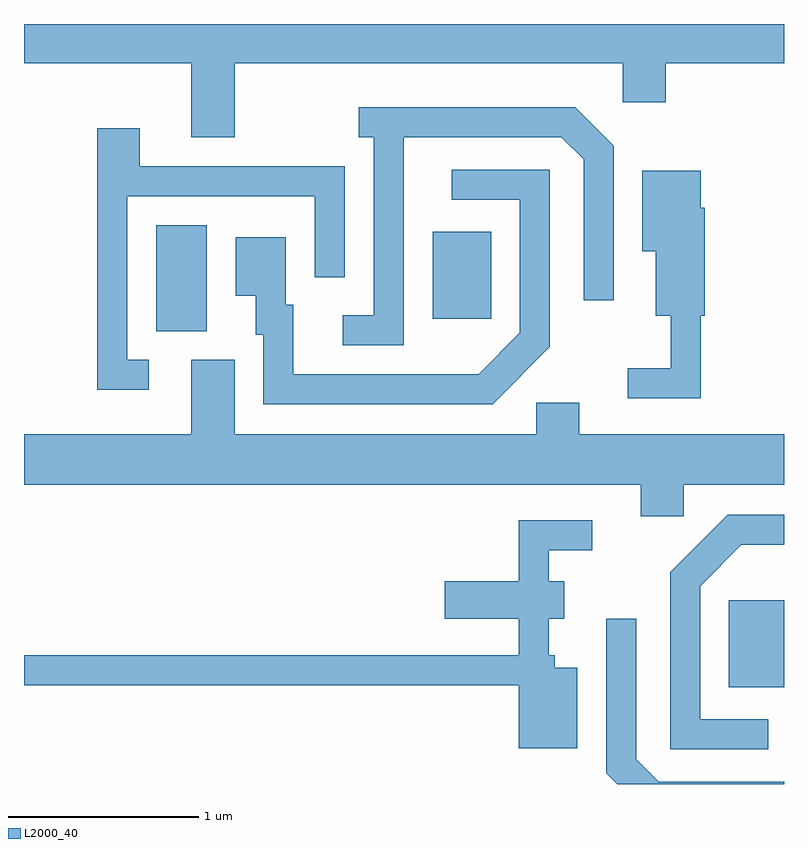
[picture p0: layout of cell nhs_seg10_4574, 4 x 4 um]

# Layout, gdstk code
import gdstk
lib = gdstk.Library(unit=1e-6, precision=1e-09)
def R(c, l, rs):  # rectangles x0, y0, x1, y1
    for r in rs: c.add(gdstk.rectangle(r[:2], r[2:], *l))
def P(c, l, *ps):  # polygons
    for p in ps: c.add(gdstk.Polygon(p, *l))
L2000_40 = (2000, 40)

nhs_seg10_4574 = lib.new_cell('nhs_seg10_4574')
R(nhs_seg10_4574, L2000_40, [(323.321,2155.031,323.611,2155.489), (320.306,2156.906,320.574,2157.464), (321.761,2156.971,322.069,2157.429)])
P(nhs_seg10_4574, L2000_40, [(320.719,2158.316),(322.761,2158.316),(322.761,2158.111),(322.989,2158.111),(322.989,2158.316),(323.611,2158.316),(323.611,2158.522),(319.611,2158.522),(319.611,2158.316),(320.491,2158.316),(320.491,2157.926),(320.719,2157.926)],
  [(321.609,2157.926),(322.439,2157.926),(322.556,2157.809),(322.556,2157.068),(322.714,2157.068),(322.714,2157.882),(322.512,2158.084),(321.373,2158.084),(321.373,2157.926),(321.451,2157.926),(321.451,2156.989),(321.288,2156.989),(321.288,2156.831),(321.609,2156.831)],
  [(320.268,2156.754),(320.154,2156.754),(320.154,2157.616),(321.141,2157.616),(321.141,2157.188),(321.299,2157.188),(321.299,2157.774),(320.219,2157.774),(320.219,2157.974),(319.996,2157.974),(319.996,2156.596),(320.268,2156.596)],
  [(322.379,2156.824),(322.379,2157.754),(321.863,2157.754),(321.863,2157.596),(322.221,2157.596),(322.221,2156.897),(322.004,2156.679),(321.029,2156.679),(321.029,2157.044),(320.989,2157.044),(320.989,2157.399),(320.726,2157.399),(320.726,2157.091),(320.831,2157.091),(320.831,2156.886),(320.871,2156.886),(320.871,2156.521),(322.077,2156.521)],
  [(323.174,2156.986),(323.194,2156.986),(323.194,2157.554),(323.174,2157.554),(323.174,2157.749),(322.866,2157.749),(322.866,2157.326),(322.936,2157.326),(322.936,2156.986),(323.016,2156.986),(323.016,2156.709),(322.788,2156.709),(322.788,2156.551),(323.174,2156.551)],
  [(323.084,2156.096),(323.611,2156.096),(323.611,2156.364),(322.534,2156.364),(322.534,2156.529),(322.306,2156.529),(322.306,2156.364),(320.719,2156.364),(320.719,2156.754),(320.491,2156.754),(320.491,2156.364),(319.611,2156.364),(319.611,2156.096),(322.856,2156.096),(322.856,2155.931),(323.084,2155.931)],
  [(323.528,2154.864),(323.169,2154.864),(323.169,2155.564),(323.387,2155.781),(323.611,2155.781),(323.611,2155.939),(323.314,2155.939),(323.011,2155.637),(323.011,2154.706),(323.528,2154.706)],
  [(322.524,2155.134),(322.404,2155.134),(322.404,2155.199),(322.374,2155.199),(322.374,2155.391),(322.454,2155.391),(322.454,2155.589),(322.374,2155.589),(322.374,2155.751),(322.603,2155.751),(322.603,2155.909),(322.216,2155.909),(322.216,2155.589),(321.826,2155.589),(321.826,2155.391),(322.216,2155.391),(322.216,2155.199),(319.611,2155.199),(319.611,2155.041),(322.216,2155.041),(322.216,2154.711),(322.524,2154.711)],
  [(323.611,2154.534),(322.952,2154.534),(322.834,2154.652),(322.834,2155.393),(322.676,2155.393),(322.676,2154.579),(322.733,2154.522),(323.611,2154.522)])

lib.write_gds('nhs_seg10_4574.gds')
